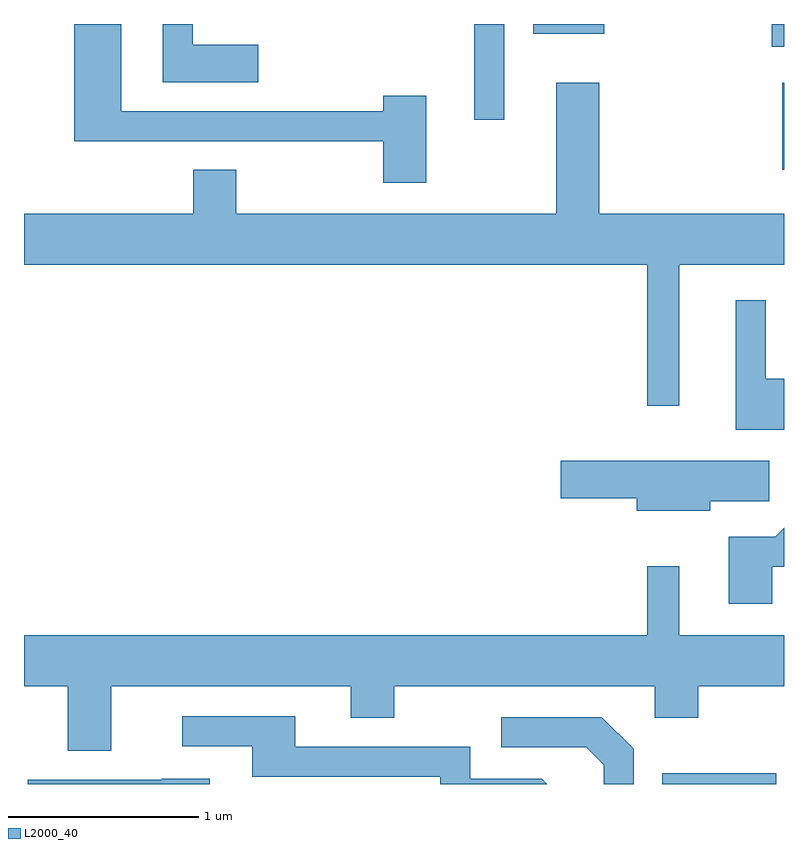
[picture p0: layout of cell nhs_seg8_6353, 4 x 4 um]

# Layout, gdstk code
import gdstk
lib = gdstk.Library(unit=1e-6, precision=1e-09)
def R(c, l, rs):  # rectangles x0, y0, x1, y1
    for r in rs: c.add(gdstk.rectangle(r[:2], r[2:], *l))
def P(c, l, *ps):  # polygons
    for p in ps: c.add(gdstk.Polygon(p, *l))
L2000_40 = (2000, 40)

nhs_seg8_6353 = lib.new_cell('nhs_seg8_6353')
R(nhs_seg8_6353, L2000_40, [(378.971,1840.342,379.569,1840.399), (379.601,1843.576,379.611,1844.034), (377.981,1843.838,378.139,1844.342), (379.546,1844.221,379.611,1844.342), (378.291,1844.291,378.664,1844.342)])
P(nhs_seg8_6353, L2000_40, [(376.844,1844.234),(376.499,1844.234),(376.499,1844.342),(376.341,1844.342),(376.341,1844.036),(376.844,1844.036)],
  [(377.729,1843.964),(377.501,1843.964),(377.501,1843.884),(376.124,1843.884),(376.124,1844.342),(375.876,1844.342),(375.876,1843.726),(377.501,1843.726),(377.501,1843.506),(377.729,1843.506)],
  [(379.059,1843.076),(379.611,1843.076),(379.611,1843.344),(378.639,1843.344),(378.639,1844.034),(378.411,1844.034),(378.411,1843.344),(376.729,1843.344),(376.729,1843.574),(376.501,1843.574),(376.501,1843.344),(375.611,1843.344),(375.611,1843.076),(378.891,1843.076),(378.891,1842.333),(379.059,1842.333)],
  [(379.611,1842.474),(379.514,1842.474),(379.514,1842.888),(379.356,1842.888),(379.356,1842.206),(379.611,1842.206)],
  [(379.224,1841.831),(379.534,1841.831),(379.534,1842.044),(378.436,1842.044),(378.436,1841.846),(378.836,1841.846),(378.836,1841.781),(379.224,1841.781)],
  [(379.549,1841.486),(379.611,1841.486),(379.611,1841.691),(379.564,1841.644),(379.321,1841.644),(379.321,1841.291),(379.549,1841.291)],
  [(376.069,1840.856),(377.331,1840.856),(377.331,1840.691),(377.559,1840.691),(377.559,1840.856),(378.931,1840.856),(378.931,1840.691),(379.159,1840.691),(379.159,1840.856),(379.611,1840.856),(379.611,1841.124),(379.059,1841.124),(379.059,1841.488),(378.891,1841.488),(378.891,1841.124),(375.611,1841.124),(375.611,1840.856),(375.841,1840.856),(375.841,1840.516),(376.069,1840.516)],
  [(378.337,1840.369),(377.959,1840.369),(377.959,1840.539),(377.039,1840.539),(377.039,1840.699),(376.443,1840.699),(376.443,1840.541),(376.811,1840.541),(376.811,1840.381),(377.801,1840.381),(377.801,1840.342),(378.364,1840.342)],
  [(378.819,1840.527),(378.652,1840.694),(378.123,1840.694),(378.123,1840.536),(378.569,1840.536),(378.661,1840.444),(378.661,1840.342),(378.819,1840.342)],
  [(376.589,1840.369),(376.335,1840.369),(376.335,1840.364),(375.631,1840.364),(375.631,1840.342),(376.589,1840.342)])

lib.write_gds('nhs_seg8_6353.gds')
